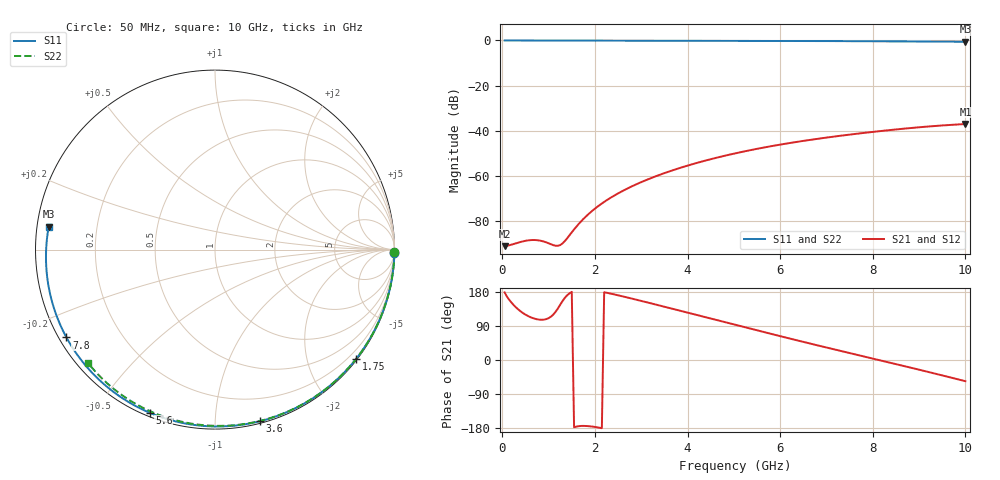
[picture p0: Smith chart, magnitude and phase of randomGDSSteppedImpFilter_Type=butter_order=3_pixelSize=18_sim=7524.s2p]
! freq	dB(S11)	phase(S11)	dB(S12)	phase(S12)
!  dB(S21)	phase(S21)	dB(S22)	phase(S22)
!S-par simulation data
#  GHz  S  DB  R 50
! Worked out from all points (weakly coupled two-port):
!   200 points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, 50 MHz to 10 GHz, reference 50 ohm
!   highest |S21| = -37.03 dB at 10 GHz (marker M1); lowest = -91.1 dB at 50 MHz (marker M2)
!   lowest |S11| = -0.6 dB at 10 GHz (marker M3), VSWR 29.82, Z = 1.68 + j3.43 ohm
!   |S11| at or under -10 dB: nowhere
!   |S22| runs from -0.5 to 0.0 dB; largest |S21 - S12| = 0
!   S11 on the Smith chart (normalised r, x): 50 MHz: open; 1.75 GHz: 0.03, -2.91; 3.6 GHz: 0.02, -1.30; 5.6 GHz: 0.02, -0.68; 7.8 GHz: 0.02, -0.27; 10 GHz: 0.03, +0.07
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0.05  -0.00 -1.1  -91.11 178.4  -91.11 178.4  -0.00 -0.8
0.45  -0.01 -9.9  -88.95 123.6  -88.95 123.6  -0.01 -7.2
0.85  -0.02 -18.6  -88.80 106.2  -88.80 106.2  -0.02 -13.5
1.25  -0.03 -27.3  -90.62 145.8  -90.62 145.8  -0.02 -19.8
1.7  -0.05 -36.8  -80.14 -174.1  -80.14 -174.1  -0.03 -26.8
1.75  -0.05 -37.9  -79.07 -173.9  -79.07 -173.9  -0.04 -27.6
2.05  -0.06 -44.2  -73.70 -177.7  -73.70 -177.7  -0.04 -32.2
2.25  -0.06 -48.3  -70.81 177.6  -70.81 177.6  -0.05 -35.3
2.45  -0.07 -52.4  -68.31 172.2  -68.31 172.2  -0.05 -38.3
2.9  -0.08 -61.5  -63.64 159.0  -63.64 159.0  -0.06 -45.1
3.4  -0.09 -71.4  -59.49 143.7  -59.49 143.7  -0.07 -52.5
3.6  -0.10 -75.2  -58.04 137.5  -58.04 137.5  -0.07 -55.4
4.3  -0.12 -88.5  -53.68 115.7  -53.68 115.7  -0.09 -65.5
5.05  -0.16 -102.1  -49.91 92.3  -49.91 92.3  -0.12 -75.9
5.6  -0.18 -111.9  -47.60 75.2  -47.60 75.2  -0.14 -83.3
6.15  -0.21 -121.4  -45.61 58.3  -45.61 58.3  -0.16 -90.6
6.7  -0.25 -130.8  -43.87 41.8  -43.87 41.8  -0.19 -97.7
7.25  -0.29 -140.1  -42.34 25.6  -42.34 25.6  -0.22 -104.7
7.8  -0.34 -149.4  -40.96 9.6  -40.96 9.6  -0.26 -111.6
8.35  -0.39 -158.7  -39.73 -6.4  -39.73 -6.4  -0.30 -118.3
9.2  -0.49 -173.5  -38.11 -31.5  -38.11 -31.5  -0.38 -128.7
10  -0.58 172.1  -37.03 -55.9  -37.03 -55.9  -0.46 -138.3
